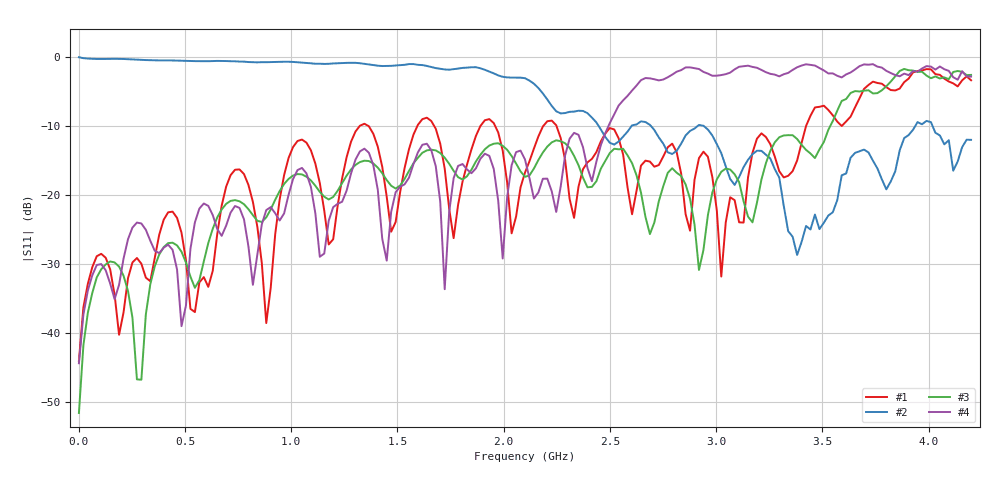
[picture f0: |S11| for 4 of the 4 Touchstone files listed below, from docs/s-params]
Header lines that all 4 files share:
# MHz S MA R 50
!  freq  S11
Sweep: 1 MHz to 4.2 GHz
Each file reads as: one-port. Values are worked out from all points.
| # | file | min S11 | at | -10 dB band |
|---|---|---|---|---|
| 1 | HFCN2_not_good.s1p | -44.0 dB | 1 MHz | over 1.322 GHz wide |
| 2 | HFCN_from_hristo_returnLoss.s1p | -28.7 dB | 3.381 GHz | 996.3 MHz wide |
| 3 | LFCN1_returnLoss.s1p | -51.5 dB | 1 MHz | over 3.536 GHz wide |
| 4 | LFCN2_good_returnLoss.s1p | -44.3 dB | 1 MHz | over 2.493 GHz wide |
